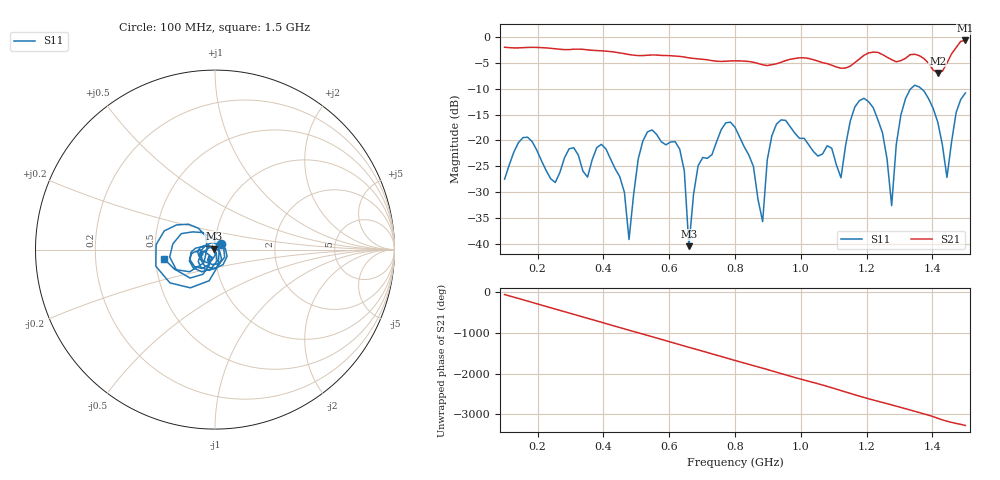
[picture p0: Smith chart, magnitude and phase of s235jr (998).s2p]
! NanoVNA-App
! Date: 2025-09-25 15:11:56
! Start: 100MHz Stop: 1,5GHz Points: 101
! S-Parameter data: F S11 S21 S12 S22
# Hz S RI R 50
!  Frequency  S11_Real  S11_Imag  S21_Real  S21_Imag  S12_Real  S12_Imag  S22_Real  S22_Imag
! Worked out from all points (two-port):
!   101 points, 100 MHz to 1.5 GHz, reference 50 ohm
!   highest |S21| = -0.65 dB at 1.5 GHz (marker M1); lowest = -6.9 dB at 1.416 GHz (marker M2)
!   |S21| within 3 dB of the highest: start of sweep to 614.4 MHz; 1.19 GHz to 1.256 GHz (65.92 MHz wide, 5.39 % of centre)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
!   lowest |S11| = -40.5 dB at 660 MHz (marker M3), VSWR 1.02, Z = 49.3 + j0.602 ohm
!   |S11| at or under -10 dB: start of sweep to 1.334 GHz; 1.366 GHz to end of sweep
!   S12 and S22 are empty: the file has one direction only
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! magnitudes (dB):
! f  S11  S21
! 100 MHz  -27.5  -2.0
! 156 MHz  -19.4  -2.0
! 338 MHz  -25.9  -2.4
! 408 MHz  -21.6  -2.7
! 478 MHz  -39.2  -3.4
! 520 MHz  -20.1  -3.6
! 576 MHz  -20.3  -3.5
! 632 MHz  -21.7  -3.7
! 660 MHz  -40.5  -4.0
! 688 MHz  -24.9  -4.2
! 800 MHz  -17.5  -4.6
! 884 MHz  -35.7  -5.4
! 926 MHz  -16.8  -5.2
! 1.038 GHz  -22.1  -4.4
! 1.122 GHz  -27.2  -6.0
! 1.192 GHz  -11.8  -3.5
! 1.248 GHz  -18.5  -3.4
! 1.276 GHz  -32.6  -4.4
! 1.332 GHz  -10.1  -3.4
! 1.416 GHz  -16.4  -6.9
! 1.444 GHz  -27.2  -5.0
! 1.5 GHz  -10.8  -0.6
